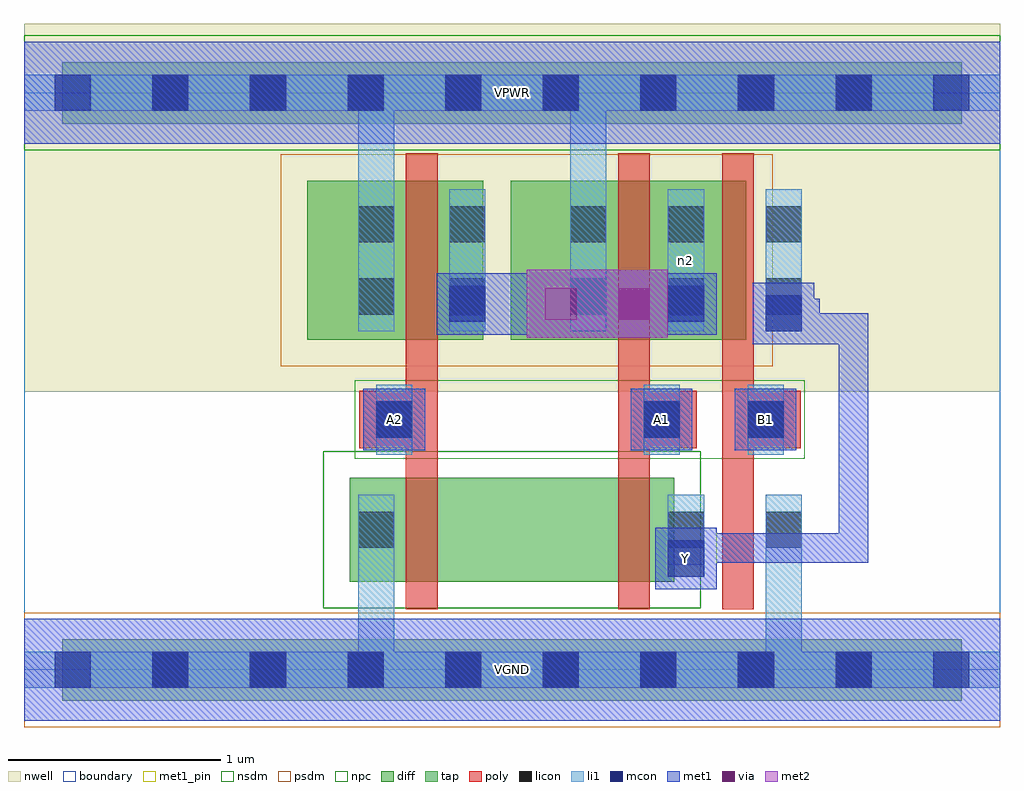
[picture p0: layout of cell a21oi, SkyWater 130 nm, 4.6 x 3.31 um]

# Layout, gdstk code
import gdstk
lib = gdstk.Library(unit=1e-6, precision=1e-09)
def R(c, l, rs):  # rectangles x0, y0, x1, y1
    for r in rs: c.add(gdstk.rectangle(r[:2], r[2:], *l))
def A(c, l, x, y, w, h, nx, ny, dx, dy):  # array of equal rectangles
    R(c, l, [(x+i*dx, y+j*dy, x+i*dx+w, y+j*dy+h) for i in range(nx) for j in range(ny)])
nwell = (64, 20)
diff = (65, 20)
tap = (65, 44)
poly = (66, 20)
licon = (66, 44)
li1 = (67, 20)
mcon = (67, 44)
met1_pin = (68, 16)
met1 = (68, 20)
via = (68, 44)
met2 = (69, 20)
nsdm = (93, 44)
psdm = (94, 20)
npc = (95, 20)
boundary = (235, 4)

a21oi = lib.new_cell('a21oi')
R(a21oi, nwell, [(0,1.31,4.6,3.045)])
R(a21oi, diff, [(1.535,0.415,3.065,0.905), (1.335,1.555,2.165,2.305), (2.295,1.555,3.405,2.305)])
R(a21oi, tap, [(0.18,-0.145,4.42,0.145), (0.18,2.575,4.42,2.865)])
R(a21oi, poly, [(1.8,0.285,1.95,2.435), (2.8,0.285,2.95,2.435), (3.29,0.285,3.44,2.435), (1.58,1.045,1.91,1.315), (2.84,1.045,3.17,1.315), (3.33,1.045,3.66,1.315)])
A(a21oi, licon, 0.605, -0.085, 0.17, 0.17, 8, 2, 0.46, 2.72)
A(a21oi, licon, 2.575, 1.675, 0.17, 0.17, 3, 2, 0.46, 0.34)
R(a21oi, licon, [(1.575,0.575,1.745,0.745), (3.035,0.575,3.205,0.745), (3.495,0.575,3.665,0.745), (1.66,1.095,1.83,1.265), (2.92,1.095,3.09,1.265), (3.41,1.095,3.58,1.265), (1.575,1.675,1.745,1.845), (2.005,1.675,2.175,1.845), (1.575,2.015,1.745,2.185), (2.005,2.015,2.175,2.185)])
A(a21oi, li1, 2.575, 1.595, 0.17, 0.67, 3, 1, 0.46, 0)
R(a21oi, li1, [(0,-0.085,4.6,0.085), (1.575,-0.085,1.745,0.825), (3.495,-0.085,3.665,0.825), (1.575,0.495,1.745,0.825), (3.035,0.495,3.205,0.825), (3.495,0.495,3.665,0.825), (1.66,1.015,1.83,1.345), (2.92,1.015,3.09,1.345), (3.41,1.015,3.58,1.345), (1.575,1.595,1.745,2.265), (1.575,1.595,1.745,2.805), (2.005,1.595,2.175,2.265), (2.575,1.595,2.745,2.805), (0,2.635,4.6,2.805)])
A(a21oi, mcon, 0.145, -0.085, 0.17, 0.17, 10, 2, 0.46, 2.72)
R(a21oi, mcon, [(3.035,0.44,3.205,0.61), (1.66,1.095,1.83,1.265), (2.92,1.095,3.09,1.265), (3.41,1.095,3.58,1.265), (3.495,1.595,3.665,1.765), (2.005,1.64,2.175,1.81), (3.035,1.64,3.205,1.81)])
R(a21oi, met1_pin, [(0,-0.24,4.6,0.24), (2.975,0.38,3.265,0.67), (1.6,1.035,1.89,1.325), (2.86,1.035,3.15,1.325), (3.35,1.035,3.64,1.325), (0,2.48,4.6,2.96)])
R(a21oi, met1, [(0,-0.24,4.6,0.24), (2.975,0.38,3.265,0.67), (3.035,0.505,3.175,0.645), (3.035,0.505,3.98,0.645), (3.84,0.505,3.98,1.68), (1.6,1.035,1.89,1.325), (2.86,1.035,3.15,1.325), (3.35,1.035,3.64,1.325), (3.435,1.535,3.725,1.825), (3.725,1.535,3.84,1.68), (3.61,1.54,3.75,1.75), (3.61,1.54,3.98,1.68), (2.37,1.565,2.69,1.885), (2.69,1.565,2.715,1.885), (2.715,1.565,3.035,1.885), (1.945,1.58,2.235,1.87), (2.235,1.58,2.37,1.87), (2.975,1.58,3.265,1.87), (3.51,1.61,3.75,1.75), (2.02,1.655,2.255,1.795), (2.115,1.655,2.6,1.795), (2.6,1.655,2.715,1.795), (2.69,1.655,2.805,1.795), (2.805,1.655,3.06,1.795), (2.92,1.655,3.19,1.795), (0,2.48,4.6,2.96)])
R(a21oi, via, [(2.455,1.65,2.605,1.8), (2.8,1.65,2.95,1.8)])
R(a21oi, met2, [(2.37,1.565,2.69,1.885), (2.69,1.565,2.715,1.885), (2.715,1.565,3.035,1.885), (2.46,1.655,2.945,1.795)])
R(a21oi, nsdm, [(1.41,0.29,3.19,1.03), (0,2.45,4.6,2.99)])
R(a21oi, psdm, [(0,-0.27,4.6,0.27), (1.21,1.43,2.29,2.43), (2.17,1.43,3.53,2.43)])
R(a21oi, npc, [(1.56,0.995,3.68,1.365)])
R(a21oi, boundary, [(0,0,4.6,2.72)])
a21oi.add(gdstk.Label('n2', (3.12,1.93), layer=67, texttype=5))
a21oi.add(gdstk.Label('A1', (3.005,1.18), layer=68, texttype=5))
a21oi.add(gdstk.Label('A2', (1.745,1.18), layer=68, texttype=5))
a21oi.add(gdstk.Label('B1', (3.495,1.18), layer=68, texttype=5))
a21oi.add(gdstk.Label('Y', (3.12,0.525), layer=68, texttype=5))
a21oi.add(gdstk.Label('VPWR', (2.3,2.72), layer=68, texttype=5))
a21oi.add(gdstk.Label('VGND', (2.3,0), layer=68, texttype=5))
a21oi.add(gdstk.Label('A1', (3.005,1.18), layer=68, texttype=16))
a21oi.add(gdstk.Label('A2', (1.745,1.18), layer=68, texttype=16))
a21oi.add(gdstk.Label('B1', (3.495,1.18), layer=68, texttype=16))
a21oi.add(gdstk.Label('Y', (3.12,0.525), layer=68, texttype=16))
a21oi.add(gdstk.Label('VPWR', (2.3,2.72), layer=68, texttype=16))
a21oi.add(gdstk.Label('VGND', (2.3,0), layer=68, texttype=16))

lib.write_gds('a21oi.gds')
